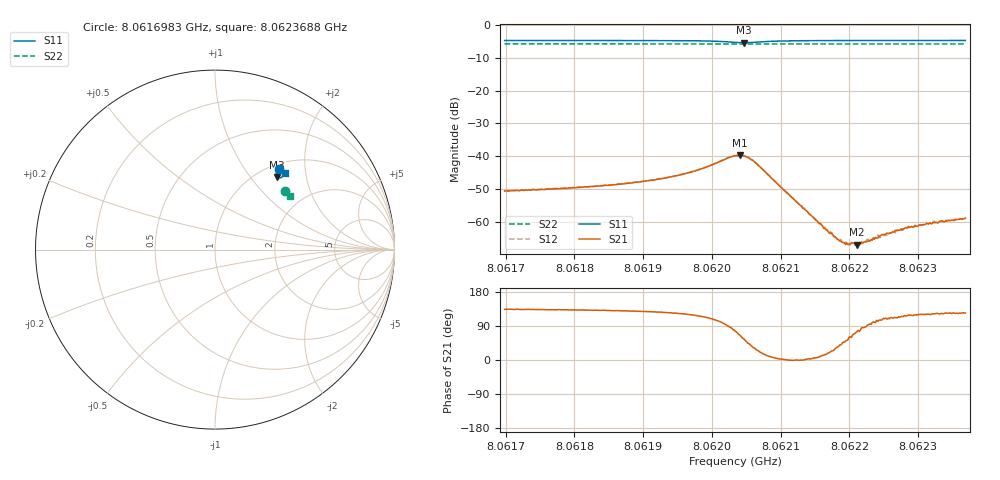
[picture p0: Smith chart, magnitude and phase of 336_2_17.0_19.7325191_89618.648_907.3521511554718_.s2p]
#  HZ  S  RI  R  50.00
! Rohde & Schwarz Vector Network Analyzer
! Rohde-Schwarz,ZNB20-2Port,1311601062101988,3.16
! Created: UTC 3/20/2024, 11:07:07 PM
! freq[Hz]  re:S11  im:S11  re:S21  im:S21  re:S12  im:S12  re:S22  im:S22
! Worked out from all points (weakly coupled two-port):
!   401 points, 8.0616983 GHz to 8.0623688 GHz, reference 50 ohm
!   highest |S21| = -39.72 dB at 8.0620403 GHz (marker M1); lowest = -66.9 dB at 8.0622112 GHz (marker M2)
!   lowest |S11| = -5.5 dB at 8.062047 GHz (marker M3), VSWR 3.28, Z = 60.6 + j68.4 ohm
!   |S11| at or under -10 dB: nowhere
!   |S22| runs from -5.9 to -5.8 dB; largest |S21 - S12| = 0.00077
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8.06169833e9  0.3584 0.4508  -0.00205 0.00215  -0.00195 0.00229  0.3914 0.3288
8.06181063e9  0.366 0.4443  -0.00227 0.0025  -0.00211 0.00265  0.3957 0.3232
8.06187097e9  0.3705 0.4399  -0.00244 0.00292  -0.00229 0.00312  0.3981 0.3203
8.06192293e9  0.3748 0.4346  -0.00268 0.00363  -0.00249 0.00384  0.4001 0.3176
8.06197489e9  0.3792 0.4252  -0.00281 0.00527  -0.00251 0.00549  0.4018 0.3147
8.06203355e9  0.362 0.3994  0.00234 0.00988  0.00298 0.00977  0.4027 0.3109
8.06204025e9  0.3539 0.4001  0.00414 0.00947  0.00488 0.0093  0.4027 0.3108
8.06204696e9  0.3461 0.4044  0.00579 0.00822  0.00646 0.00791  0.4027 0.3109
8.06206204e9  0.3397 0.4212  0.00703 0.00422  0.00739 0.00375  0.4032 0.3109
8.06214585e9  0.368 0.4383  0.00122 8.4e-05  0.00122 -3.78e-06  0.4075 0.3076
8.06216764e9  0.3715 0.4372  0.000719 0.00022  0.000744 0.000157  0.4084 0.3062
8.06217937e9  0.3732 0.4364  0.000519 0.000301  0.00052 0.000254  0.4088 0.3058
8.06218607e9  0.3739 0.436  0.000396 0.000332  0.00043 0.000289  0.4091 0.3053
8.06219445e9  0.3749 0.4353  0.000292 0.000352  0.000314 0.000386  0.4094 0.305
8.06221122e9  0.3767 0.4345  0.000118 0.000436  0.000132 0.000453  0.4101 0.304
8.06223803e9  0.3792 0.4326  -8.95e-05 0.00058  -9.35e-05 0.000568  0.411 0.3025
8.06224641e9  0.3799 0.4322  -0.000163 0.000615  -0.000126 0.000606  0.4114 0.3021
8.06225815e9  0.3809 0.4316  -0.00022 0.000645  -0.000198 0.000649  0.4118 0.3014
8.06228329e9  0.3829 0.4301  -0.000362 0.000731  -0.000326 0.000727  0.4127 0.3003
8.06229167e9  0.3835 0.4297  -0.000386 0.000748  -0.000349 0.000774  0.4131 0.2999
8.06229837e9  0.384 0.4292  -0.000411 0.000765  -0.000407 0.000794  0.4133 0.2995
8.06236877e9  0.3887 0.4254  -0.000647 0.000956  -0.000594 0.000995  0.4155 0.2959
